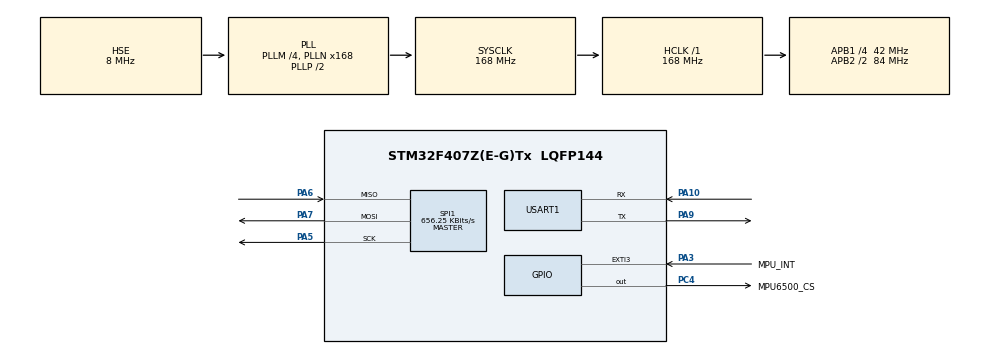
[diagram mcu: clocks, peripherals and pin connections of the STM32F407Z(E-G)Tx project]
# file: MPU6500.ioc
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Mcu.Family=STM32F4
Mcu.Name=STM32F407Z(E-G)Tx
Mcu.Package=LQFP144
NVIC.EXTI3_IRQn=true\:0\:0\:false\:false\:true\:true\:true
NVIC.PriorityGroup=NVIC_PRIORITYGROUP_4
NVIC.TIM7_IRQn=true\:0\:0\:false\:false\:true\:true\:true
NVIC.USART1_IRQn=true\:0\:0\:false\:false\:true\:true\:true
PA10.Mode=Asynchronous
PA10.Signal=USART1_RX
PA3.GPIO_Label=MPU_INT
PA3.GPIO_PuPd=GPIO_PULLDOWN
PA3.Signal=GPXTI3
PA5.Mode=Full_Duplex_Master
PA5.Signal=SPI1_SCK
PA6.Mode=Full_Duplex_Master
PA6.Signal=SPI1_MISO
PA7.Mode=Full_Duplex_Master
PA7.Signal=SPI1_MOSI
PA9.Mode=Asynchronous
PA9.Signal=USART1_TX
PC4.GPIO_Label=MPU6500_CS
PC4.GPIO_PuPd=GPIO_PULLUP
PC4.GPIO_Speed=GPIO_SPEED_FREQ_HIGH
PC4.PinState=GPIO_PIN_SET
PC4.Signal=GPIO_Output
PH0-OSC_IN.Mode=HSE-External-Oscillator
PH0-OSC_IN.Signal=RCC_OSC_IN
PH1-OSC_OUT.Mode=HSE-External-Oscillator
PH1-OSC_OUT.Signal=RCC_OSC_OUT
ProjectManager.HeapSize=0x200
ProjectManager.StackSize=0x400
ProjectManager.TargetToolchain=MDK-ARM V5
RCC.48MHZClocksFreq_Value=84000000
RCC.AHBFreq_Value=168000000
RCC.APB1CLKDivider=RCC_HCLK_DIV4
RCC.APB1Freq_Value=42000000
RCC.APB1TimFreq_Value=84000000
RCC.APB2CLKDivider=RCC_HCLK_DIV2
RCC.APB2Freq_Value=84000000
RCC.APB2TimFreq_Value=168000000
RCC.CortexFreq_Value=168000000
RCC.HCLKFreq_Value=168000000
RCC.HSE_VALUE=8000000
RCC.HSI_VALUE=16000000
RCC.LSE_VALUE=32768
RCC.PLLM=4
RCC.PLLN=168
RCC.PLLSourceVirtual=RCC_PLLSOURCE_HSE
RCC.SYSCLKFreq_VALUE=168000000
RCC.SYSCLKSource=RCC_SYSCLKSOURCE_PLLCLK
RCC.VCOOutputFreq_Value=336000000
SPI1.BaudRatePrescaler=SPI_BAUDRATEPRESCALER_128
SPI1.CLKPhase=SPI_PHASE_2EDGE
SPI1.CLKPolarity=SPI_POLARITY_HIGH
SPI1.CalculateBaudRate=656.25 KBits/s
SPI1.Direction=SPI_DIRECTION_2LINES
SPI1.Mode=SPI_MODE_MASTER
SPI1.VirtualType=VM_MASTER
TIM7.Period=100
TIM7.Prescaler=840
USART1.VirtualMode=VM_ASYNC
VP_TIM7_VS_ClockSourceINT.Mode=Enable_Timer
board=custom

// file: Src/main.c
/* USER CODE BEGIN Header */
/**
  ******************************************************************************
  * @file           : main.c
  * @brief          : Main program body
  ******************************************************************************
  * @attention
  *
  * <h2><center>&copy; Copyright (c) 2019 STMicroelectronics.
  * All rights reserved.</center></h2>
  *
  * This software component is licensed by ST under BSD 3-Clause license,
  * the "License"; You may not use this file except in compliance with the
  * License. You may obtain a copy of the License at:
  *                        opensource.org/licenses/BSD-3-Clause
  *
  ******************************************************************************
  */
/* USER CODE END Header */

#include "main.h"
#include "spi.h"
#include "tim.h"
#include "usart.h"
#include "gpio.h"

/* USER CODE BEGIN Includes */
#include "math.h"
#include "mpu.h"
#include "imu.h"
/* USER CODE END Includes */

/* USER CODE BEGIN PTD */
struct DATA_FIN {
	float gyro[3];
	float accel[3];
	float angle[3];      //0 roll, 1 pitch, 2 yaw
	float yaw_bias[4];   //0 ����yaw�ǣ� 1 �ϴ�yaw�ǣ� 2 ����ƫ� 3 �ۻ�ƫ��
	float yaw_last;
};
struct DATA_FIN DATA_FIN = {0};
float roll = 0;
float pitch = 0;
float yaw = 0;
int mpu_int = 0;
int cnt = 0;

/* USER CODE END PTD */

void SystemClock_Config(void);

int main(void)
{

  /* MCU Configuration--------------------------------------------------------*/

  /* Reset of all peripherals, Initializes the Flash interface and the Systick. */
  HAL_Init();

  /* Configure the system clock */
  SystemClock_Config();

  /* Initialize all configured peripherals */
  MX_GPIO_Init();
  MX_USART1_UART_Init();
  MX_SPI1_Init();
  MX_TIM7_Init();
  /* USER CODE BEGIN 2 */
	IMU_INIT();
	HAL_TIM_Base_Start_IT(&htim7);
	printf("hellow world  ");

  /* USER CODE END 2 */

  /* Infinite loop */
  while (1)
  {

    /* USER CODE BEGIN 3 */

		printf("%f\n", roll);
		printf("%f\n", pitch);
		printf("%f\n", yaw);
		printf("\n");
  }
  /* USER CODE END 3 */
}

void SystemClock_Config(void)
{
  RCC_OscInitTypeDef RCC_OscInitStruct = {0};
  RCC_ClkInitTypeDef RCC_ClkInitStruct = {0};

  /** Configure the main internal regulator output voltage
  */
  __HAL_RCC_PWR_CLK_ENABLE();
  __HAL_PWR_VOLTAGESCALING_CONFIG(PWR_REGULATOR_VOLTAGE_SCALE1);
  /** Initializes the CPU, AHB and APB busses clocks
  */
  RCC_OscInitStruct.OscillatorType = RCC_OSCILLATORTYPE_HSE;
  RCC_OscInitStruct.HSEState = RCC_HSE_ON;
  RCC_OscInitStruct.PLL.PLLState = RCC_PLL_ON;
  RCC_OscInitStruct.PLL.PLLSource = RCC_PLLSOURCE_HSE;
  RCC_OscInitStruct.PLL.PLLM = 4;
  RCC_OscInitStruct.PLL.PLLN = 168;
  RCC_OscInitStruct.PLL.PLLP = RCC_PLLP_DIV2;
  RCC_OscInitStruct.PLL.PLLQ = 4;
  if (HAL_RCC_OscConfig(&RCC_OscInitStruct) != HAL_OK)
  {
    Error_Handler();
  }
  /** Initializes the CPU, AHB and APB busses clocks
  */
  RCC_ClkInitStruct.ClockType = RCC_CLOCKTYPE_HCLK|RCC_CLOCKTYPE_SYSCLK
                              |RCC_CLOCKTYPE_PCLK1|RCC_CLOCKTYPE_PCLK2;
  RCC_ClkInitStruct.SYSCLKSource = RCC_SYSCLKSOURCE_PLLCLK;
  RCC_ClkInitStruct.AHBCLKDivider = RCC_SYSCLK_DIV1;
  RCC_ClkInitStruct.APB1CLKDivider = RCC_HCLK_DIV4;
  RCC_ClkInitStruct.APB2CLKDivider = RCC_HCLK_DIV2;

  if (HAL_RCC_ClockConfig(&RCC_ClkInitStruct, FLASH_LATENCY_5) != HAL_OK)
  {
    Error_Handler();
  }
}

/* USER CODE BEGIN 4 */
void HAL_TIM_PeriodElapsedCallback(TIM_HandleTypeDef *htim) {
	if(htim->Instance == htim7.Instance) {
		IMU_COMPUTE(DATA_FIN.gyro, DATA_FIN.accel, DATA_FIN.angle);
//		if(cnt < 1000) {
//			cnt++;
//			DATA_FIN.yaw_bias[0] = DATA_FIN.angle[2];
//			DATA_FIN.yaw_bias[2] = DATA_FIN.yaw_bias[0] - DATA_FIN.yaw_bias[1];
//			DATA_FIN.yaw_bias[1] = DATA_FIN.yaw_bias[0];
//			DATA_FIN.yaw_bias[3] += DATA_FIN.angle[2];
//		}
//		if(cnt == 999) {
//			DATA_FIN.yaw_bias[3] /= 1000;
//			cnt = 1000;
//		}
//
//		yaw += DATA_FIN.angle[2] - DATA_FIN.yaw_last - DATA_FIN.yaw_bias[3];
//		DATA_FIN.yaw_last = DATA_FIN.angle[2];
		roll = DATA_FIN.angle[0];
		pitch = DATA_FIN.angle[1];
		yaw = DATA_FIN.angle[2];
	}
}

void HAL_GPIO_EXTI_Callback(uint16_t GPIO_Pin) {
  if(GPIO_Pin == GPIO_PIN_3)
  {
    mpu_int = 1;
  }
}

/* USER CODE END 4 */

void Error_Handler(void)
{
}

/************************ (C) COPYRIGHT STMicroelectronics *****END OF FILE****/
